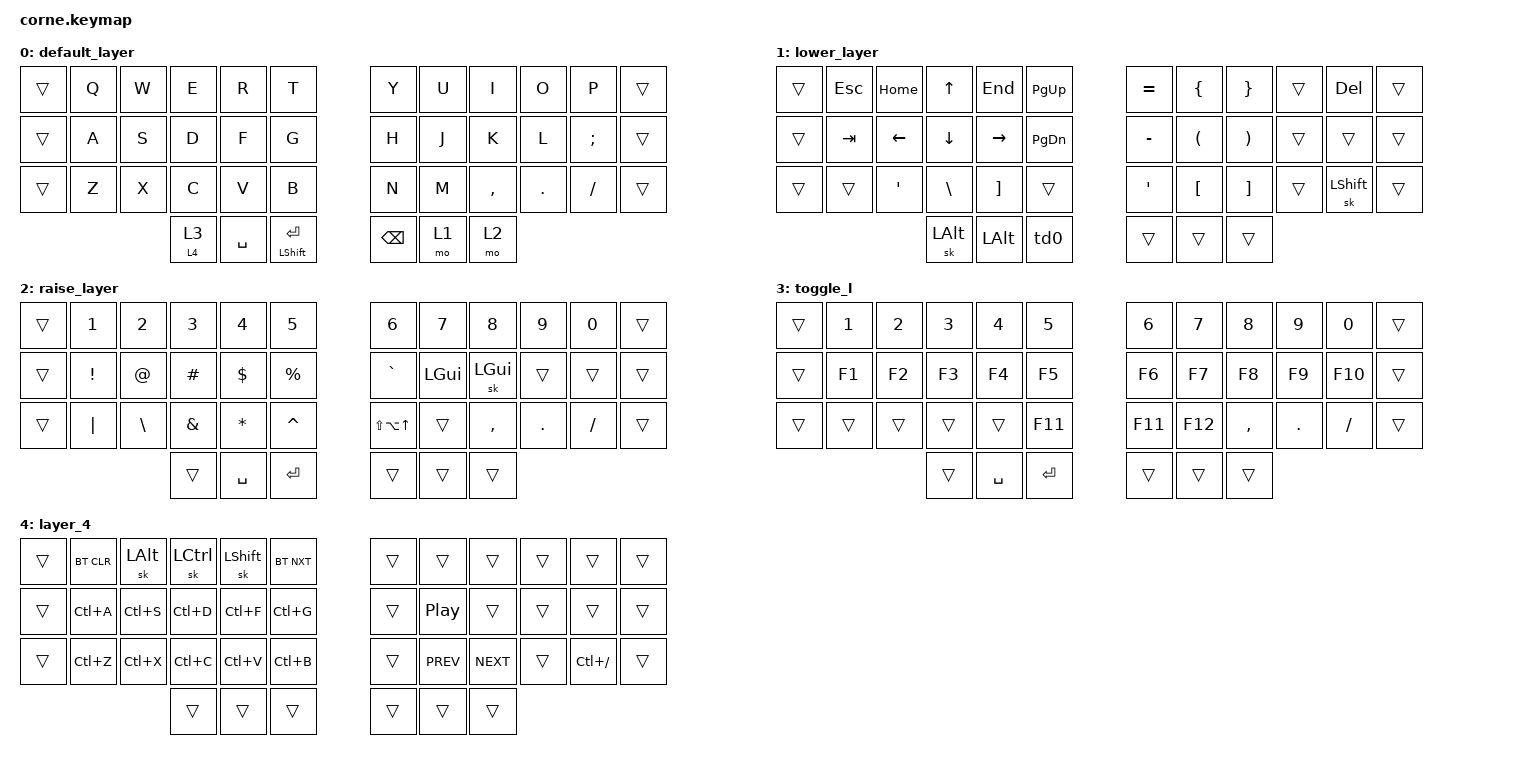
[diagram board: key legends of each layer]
#include <behaviors.dtsi>
#include <dt-bindings/zmk/keys.h>
#include <dt-bindings/zmk/bt.h>

#define DEFAULT 0
#define LOWER 1
#define RAISE 2
#define TOGGLE 3
#define L4 4

&lt {
        flavor = "balanced";
        tapping-term-ms = <150>;
};

&mt {
};

/ {
        behaviors {
                td0: tap_dance_0 {
                        compatible = "zmk,behavior-tap-dance";
                        label = "TAP_DANCE_0";
                        #binding-cells = <0>;
                        tapping-term-ms = <200>;
                        bindings = <&kp LSHIFT>, <&kp CAPS>;
                };
                mo_tog: behavior_mo_tog {
                        compatible = "zmk,behavior-hold-tap";
                        label = "mo_tog";
                        flavor = "hold-preferred";
                        #binding-cells = <2>;
                        tapping-term-ms = <200>;
                        bindings = <&mo>, <&tog>;
                };
        };

        keymap {    
                compatible = "zmk,keymap";
                default_layer {
// -----------------------------------------------------------------------------------------
// |   |  Q  |  W  |  E  |  R  |  T  |         |  Y  |  U   |  I  |  O  |  P  |    |
// |   |  A  |  S  |  D  |  F  |  G  |         |  H  |  J   |  K  |  L  |  ;  |    |
// |   |  Z  |  X  |  C  |  V  |  B  |         |  N  |  M   |  ,  |  .  |  /  |    |
//                | L3 |SPACE|SHFTENT|         |BKCSP|  L1  | L2  |

                        bindings = <
   &trans   &kp Q    &kp W   &kp E   &kp R    &kp T          &kp Y      &kp U    &kp I     &kp O   &kp P      &trans
   &trans   &kp A    &kp S   &kp D   &kp F    &kp G          &kp H      &kp J    &kp K     &kp L   &kp SEMI   &trans
   &trans   &kp Z    &kp X   &kp C   &kp V    &kp B          &kp N      &kp M    &kp COMMA &kp DOT &kp FSLH   &trans
              &mo_tog 4 3   &kp SPACE  &mt LSHFT ENTER       &kp BSPC &mo 1  &mo 2
                        >;
                };

                lower_layer {
// ----------------------------------------------------------------------------------
// |    | ESC | HOME| UP  | END | PGUP   |         |  =  |  {  |  }  |     |  DEL |     | 
// |    | TAB | LFT | DWN | RGT |PGDOWN  |         |  -  |  (  |  )  |     |      |     |
// |    |     |  '  |  \  |  ]  |CTRLSHFT|         |  '  |  [  |  ]  |     | LSHT |     |
//                  | ALT |CTRL | SHIFT  |         |     |     |     |

                       bindings = <
   &trans  &kp ESC    &kp HOME  &kp UP     &kp END     &kp PG_UP            &kp EQUAL  &kp LBRC  &kp RBRC   &trans   &kp DEL    &trans
   &trans  &kp TAB    &kp LEFT  &kp DOWN   &kp RIGHT   &kp PAGE_DOWN        &kp MINUS  &kp LPAR  &kp RPAR   &trans   &trans     &trans
   &trans  &trans     &kp SQT   &kp BSLH   &kp RBKT    &trans               &kp SQT    &kp LBKT  &kp RBKT   &trans   &sk LSHFT  &trans
                                &sk LALT   &kp LALT    &td0                 &trans     &trans   &trans 
                        >;
                };

                raise_layer {
// -----------------------------------------------------------------------------------------
// |     |  1   |  2   |  3   |  4  | 5  |         |  6   |  7   |  8     |  9  | 0   |    |
// |     |  !   |  @   |  #   |  $  | %  |         |  ~   | LGUI | SKLGUI |     |     |    |
// |     | '|'  |  \   |  &   |  *  | ^  |         |CPLINE|      |  ,     |  .  |  /  |    |
//                     |      |SPACE|ENTR|         |BKSPC |      |        |

                        bindings = <
   &trans   &kp N1     &kp N2      &kp N3     &kp N4    &kp N5           &kp N6          &kp N7      &kp N8      &kp N9      &kp N0    &trans
   &trans   &kp EXCL   &kp AT      &kp HASH   &kp DLLR  &kp PRCNT        &kp GRAVE       &kp LGUI    &sk LGUI    &trans      &trans    &trans  
   &trans   &kp PIPE   &kp BSLH    &kp AMPS   &kp STAR  &kp CARET        &kp LS(LA(UP))  &trans      &kp COMMA   &kp DOT     &kp FSLH   &trans  
                            	&trans     &kp SPACE   &kp ENTER      &trans     &trans     &trans
                        >;
                };

                toggle_l {
// ----------------------------------------------------------------------------------
// |   |  1   |  2  |  3   |  4  | 5   |         |  6  |  7  |  8  |  9  | 0   |     | 
// |   |  F1  | F2  |  F3  | F4  | F5  |         | F6  | F7  |  F8 | F9  | F10 |     |
// |   |BTCLR | BT1 | BT2  |     |     |         | F11 | F12 |  ,  |  .  |  /  |     |
//                  |      |SPACE|ENTER|         |BKSPC| L1  |     |

                        bindings = <
   &trans    &kp N1    &kp N2    &kp N3   &kp N4    &kp N5          &kp N6    &kp N7     &kp N8    &kp N9   &kp N0     &trans
   &trans    &kp F1    &kp F2    &kp F3   &kp F4    &kp F5          &kp F6    &kp F7     &kp F8    &kp F9   &kp F10    &trans
   &trans    &trans    &trans    &trans   &trans    &kp F11         &kp F11   &kp F12    &kp COMMA  &kp DOT  &kp FSLH  &trans 
                                       &trans   &kp SPACE  &kp ENTER        &trans   &trans    &trans
                        >;
                };

                layer_4 {
// -----------------------------------------------------------------------------------
// |    |    |LALT |LCTRL |LSHFT|     |         |     |     |     |     |BTCLR|    |
// |    | ca | cs  |      |  cf | cg  |         |     |PLAY |     |     | BT1 |    |
// |    | cz | cx  |  cc  | cv  | cb  |         |     | PREV| NXT |     | BT2 |    |
//                |       |     |     |         |     |     |     |

                        bindings = <
   &trans   &bt BT_CLR  &sk LALT    &sk LCTRL   &sk LSHFT   &bt BT_NXT         &trans    &trans      &trans      &trans     &trans         &trans  
   &trans   &kp LC(A)   &kp LC(S)   &kp LC(D)   &kp LC(F)   &kp LC(G)            &trans    &kp C_PP    &trans      &trans     &trans         &trans
   &trans   &kp LC(Z)   &kp LC(X)   &kp LC(C)   &kp LC(V)   &kp LC(B)            &trans    &kp C_PREV  &kp C_NEXT  &trans     &kp LC(FSLH)   &trans
                                               &trans   &trans  &trans          &trans   &trans    &trans
                        >;
                };
        };
};
